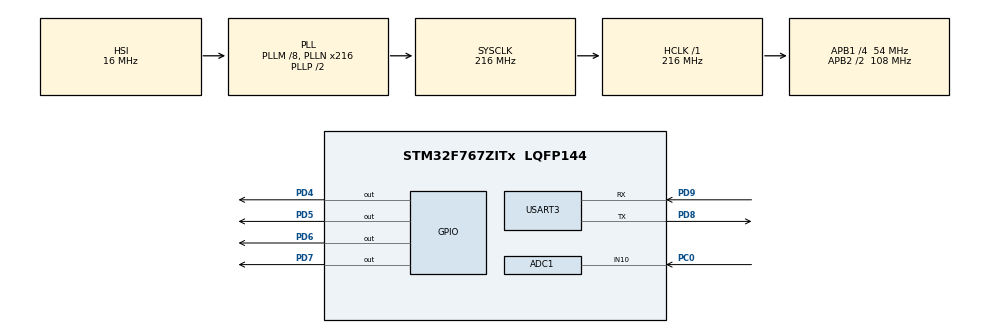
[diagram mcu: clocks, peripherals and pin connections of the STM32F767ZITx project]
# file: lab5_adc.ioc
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ADC1.Channel-0\#ChannelRegularConversion=ADC_CHANNEL_10
ADC1.ContinuousConvMode=ENABLE
ADC1.EOCSelection=ADC_EOC_SEQ_CONV
ADC1.NbrOfConversionFlag=1
ADC1.Rank-0\#ChannelRegularConversion=1
ADC1.SamplingTime-0\#ChannelRegularConversion=ADC_SAMPLETIME_3CYCLES
ADC1.master=1
Mcu.Family=STM32F7
Mcu.Name=STM32F767ZITx
Mcu.Package=LQFP144
NVIC.PriorityGroup=NVIC_PRIORITYGROUP_4
PC0.Signal=ADCx_IN10
PD4.Signal=GPIO_Output
PD5.Signal=GPIO_Output
PD6.Signal=GPIO_Output
PD7.Signal=GPIO_Output
PD8.Mode=Asynchronous
PD8.Signal=USART3_TX
PD9.Mode=Asynchronous
PD9.Signal=USART3_RX
ProjectManager.HeapSize=0x200
ProjectManager.StackSize=0x400
ProjectManager.TargetToolchain=STM32CubeIDE
RCC.AHBFreq_Value=216000000
RCC.APB1CLKDivider=RCC_HCLK_DIV4
RCC.APB1Freq_Value=54000000
RCC.APB1TimFreq_Value=108000000
RCC.APB2CLKDivider=RCC_HCLK_DIV2
RCC.APB2Freq_Value=108000000
RCC.APB2TimFreq_Value=216000000
RCC.CortexFreq_Value=216000000
RCC.HCLKFreq_Value=216000000
RCC.HSE_VALUE=25000000
RCC.HSI_VALUE=16000000
RCC.LSE_VALUE=32768
RCC.PLLM=8
RCC.PLLN=216
RCC.SYSCLKFreq_VALUE=216000000
RCC.SYSCLKSource=RCC_SYSCLKSOURCE_PLLCLK
RCC.USBFreq_Value=216000000
RCC.VCOOutputFreq_Value=432000000
SH.ADCx_IN10.0=ADC1_IN10,IN10
USART3.VirtualMode-Asynchronous=VM_ASYNC
board=custom

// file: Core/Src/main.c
/* USER CODE BEGIN Header */
/**
  ******************************************************************************
  * @file           : main.c
  * @brief          : Main program body
  ******************************************************************************
  * @attention
  *
  * Copyright (c) 2023 STMicroelectronics.
  * All rights reserved.
  *
  * This software is licensed under terms that can be found in the LICENSE file
  * in the root directory of this software component.
  * If no LICENSE file comes with this software, it is provided AS-IS.
  *
  ******************************************************************************
  */
/* USER CODE END Header */
#include "main.h"

ADC_HandleTypeDef hadc1;

UART_HandleTypeDef huart3;

void SystemClock_Config(void);
static void MPU_Initialize(void);
static void MPU_Config(void);
static void MX_GPIO_Init(void);
static void MX_ADC1_Init(void);
static void MX_USART3_UART_Init(void);

/* USER CODE BEGIN 0 */
void cleverSend(UART_HandleTypeDef huart,char * tosend){
      while(__HAL_UART_GET_FLAG(&huart,UART_FLAG_TC)==RESET){}
      HAL_UART_Transmit(&huart, (uint8_t*) tosend, strlen(tosend),HAL_MAX_DELAY);
}
void displayHEX(uint32_t value) {
    char buffer[9]; // 8 หลัก + NULL terminator
    sprintf(buffer, "%08X", value);
    cleverSend(huart3, buffer);
}
// map to 3.3
void displayVoltage(uint32_t value) {
    char buffer[9];
    //The float formatting support is not enabled, check your MCU Settings from "Project Properties > C/C++ Build > Settings > Tool Settings", or add manually "-u _printf_float" in linker flags.
    value = ((float)value / (float)0xFFF)*(float)3300;
    sprintf(buffer, "%d.%d", value / 1000,value % 1000);
    cleverSend(huart3, buffer);
}
int average_8(int x){
	static int samples[8];
	static int i = 0;
	static int total = 0;

	total += x- samples[i];
	samples[i] = x;

	i = (i==7?0:i+1);

	return total >> 3;
}
int average_16(int x){
	static int samples[16];
	static int i = 0;
	static int total = 0;

	total += x- samples[i];
	samples[i] = x;

	i = (i==15?0:i+1);

	return total >> 4;
}
volatile uint32_t adc_val = 0;
volatile uint32_t adc_avg_8 = 0;
volatile uint32_t adc_avg_16 = 0;
/* USER CODE END 0 */

int main(void)
{

  /* MCU Configuration--------------------------------------------------------*/

  /* Reset of all peripherals, Initializes the Flash interface and the Systick. */
  HAL_Init();

  /* MPU Configuration--------------------------------------------------------*/
  MPU_Config();

  /* Configure the system clock */
  SystemClock_Config();

  /* Initialize all configured peripherals */
  MX_GPIO_Init();
  MX_ADC1_Init();
  MX_USART3_UART_Init();
  /* USER CODE BEGIN 2 */
  int pins[] = {GPIO_PIN_4,GPIO_PIN_5,GPIO_PIN_6,GPIO_PIN_7};

  HAL_ADC_Start(&hadc1);
  /* USER CODE END 2 */

  /* Infinite loop */
  while (1)
  {

    /* USER CODE BEGIN 3 */
	  while(HAL_ADC_PollForConversion(&hadc1, 100) != HAL_OK){}
	  adc_val = HAL_ADC_GetValue(&hadc1);
	  adc_avg_8 = average_8(adc_val);
	  adc_avg_16 = average_16(adc_val);
	  cleverSend(huart3, "ADC1_CH10 ");
	  displayHEX(adc_val);
	  cleverSend(huart3, "  Vin = ");
	  int splitter = 0xFFF / 5;
	  for(int i=0;i<adc_val/splitter;i++){
		  HAL_GPIO_WritePin(GPIOD, pins[i], GPIO_PIN_SET);
	  }
	  for(int i=adc_val/splitter;i<4;i++){
		  HAL_GPIO_WritePin(GPIOD, pins[i], GPIO_PIN_RESET);
	  }

	  displayVoltage(adc_val);
	  cleverSend(huart3, " V\n");
	  HAL_Delay(400);
  }
  /* USER CODE END 3 */
}

void SystemClock_Config(void)
{
  RCC_OscInitTypeDef RCC_OscInitStruct = {0};
  RCC_ClkInitTypeDef RCC_ClkInitStruct = {0};

  /** Configure the main internal regulator output voltage
  */
  __HAL_RCC_PWR_CLK_ENABLE();
  __HAL_PWR_VOLTAGESCALING_CONFIG(PWR_REGULATOR_VOLTAGE_SCALE1);

  /** Initializes the RCC Oscillators according to the specified parameters
  * in the RCC_OscInitTypeDef structure.
  */
  RCC_OscInitStruct.OscillatorType = RCC_OSCILLATORTYPE_HSI;
  RCC_OscInitStruct.HSIState = RCC_HSI_ON;
  RCC_OscInitStruct.HSICalibrationValue = RCC_HSICALIBRATION_DEFAULT;
  RCC_OscInitStruct.PLL.PLLState = RCC_PLL_ON;
  RCC_OscInitStruct.PLL.PLLSource = RCC_PLLSOURCE_HSI;
  RCC_OscInitStruct.PLL.PLLM = 8;
  RCC_OscInitStruct.PLL.PLLN = 216;
  RCC_OscInitStruct.PLL.PLLP = RCC_PLLP_DIV2;
  RCC_OscInitStruct.PLL.PLLQ = 2;
  RCC_OscInitStruct.PLL.PLLR = 2;
  if (HAL_RCC_OscConfig(&RCC_OscInitStruct) != HAL_OK)
  {
    Error_Handler();
  }

  /** Activate the Over-Drive mode
  */
  if (HAL_PWREx_EnableOverDrive() != HAL_OK)
  {
    Error_Handler();
  }

  /** Initializes the CPU, AHB and APB buses clocks
  */
  RCC_ClkInitStruct.ClockType = RCC_CLOCKTYPE_HCLK|RCC_CLOCKTYPE_SYSCLK
                              |RCC_CLOCKTYPE_PCLK1|RCC_CLOCKTYPE_PCLK2;
  RCC_ClkInitStruct.SYSCLKSource = RCC_SYSCLKSOURCE_PLLCLK;
  RCC_ClkInitStruct.AHBCLKDivider = RCC_SYSCLK_DIV1;
  RCC_ClkInitStruct.APB1CLKDivider = RCC_HCLK_DIV4;
  RCC_ClkInitStruct.APB2CLKDivider = RCC_HCLK_DIV2;

  if (HAL_RCC_ClockConfig(&RCC_ClkInitStruct, FLASH_LATENCY_7) != HAL_OK)
  {
    Error_Handler();
  }
}

static void MX_ADC1_Init(void)
{

  ADC_ChannelConfTypeDef sConfig = {0};

  /** Configure the global features of the ADC (Clock, Resolution, Data Alignment and number of conversion)
  */
  hadc1.Instance = ADC1;
  hadc1.Init.ClockPrescaler = ADC_CLOCK_SYNC_PCLK_DIV4;
  hadc1.Init.Resolution = ADC_RESOLUTION_12B;
  hadc1.Init.ScanConvMode = ADC_SCAN_DISABLE;
  hadc1.Init.ContinuousConvMode = ENABLE;
  hadc1.Init.DiscontinuousConvMode = DISABLE;
  hadc1.Init.ExternalTrigConvEdge = ADC_EXTERNALTRIGCONVEDGE_NONE;
  hadc1.Init.ExternalTrigConv = ADC_SOFTWARE_START;
  hadc1.Init.DataAlign = ADC_DATAALIGN_RIGHT;
  hadc1.Init.NbrOfConversion = 1;
  hadc1.Init.DMAContinuousRequests = DISABLE;
  hadc1.Init.EOCSelection = ADC_EOC_SEQ_CONV;
  if (HAL_ADC_Init(&hadc1) != HAL_OK)
  {
    Error_Handler();
  }

  /** Configure for the selected ADC regular channel its corresponding rank in the sequencer and its sample time.
  */
  sConfig.Channel = ADC_CHANNEL_10;
  sConfig.Rank = ADC_REGULAR_RANK_1;
  sConfig.SamplingTime = ADC_SAMPLETIME_3CYCLES;
  if (HAL_ADC_ConfigChannel(&hadc1, &sConfig) != HAL_OK)
  {
    Error_Handler();
  }

}

static void MX_USART3_UART_Init(void)
{

  huart3.Instance = USART3;
  huart3.Init.BaudRate = 115200;
  huart3.Init.WordLength = UART_WORDLENGTH_8B;
  huart3.Init.StopBits = UART_STOPBITS_1;
  huart3.Init.Parity = UART_PARITY_NONE;
  huart3.Init.Mode = UART_MODE_TX_RX;
  huart3.Init.HwFlowCtl = UART_HWCONTROL_NONE;
  huart3.Init.OverSampling = UART_OVERSAMPLING_16;
  huart3.Init.OneBitSampling = UART_ONE_BIT_SAMPLE_DISABLE;
  huart3.AdvancedInit.AdvFeatureInit = UART_ADVFEATURE_NO_INIT;
  if (HAL_UART_Init(&huart3) != HAL_OK)
  {
    Error_Handler();
  }

}

static void MX_GPIO_Init(void)
{
  GPIO_InitTypeDef GPIO_InitStruct = {0};

  /* GPIO Ports Clock Enable */
  __HAL_RCC_GPIOC_CLK_ENABLE();
  __HAL_RCC_GPIOD_CLK_ENABLE();

  /*Configure GPIO pin Output Level */
  HAL_GPIO_WritePin(GPIOD, GPIO_PIN_4|GPIO_PIN_5|GPIO_PIN_6|GPIO_PIN_7, GPIO_PIN_RESET);

  /*Configure GPIO pins : PD4 PD5 PD6 PD7 */
  GPIO_InitStruct.Pin = GPIO_PIN_4|GPIO_PIN_5|GPIO_PIN_6|GPIO_PIN_7;
  GPIO_InitStruct.Mode = GPIO_MODE_OUTPUT_PP;
  GPIO_InitStruct.Pull = GPIO_NOPULL;
  GPIO_InitStruct.Speed = GPIO_SPEED_FREQ_LOW;
  HAL_GPIO_Init(GPIOD, &GPIO_InitStruct);

}

/* MPU Configuration */

void MPU_Config(void)
{
  MPU_Region_InitTypeDef MPU_InitStruct = {0};

  /* Disables the MPU */
  HAL_MPU_Disable();

  /** Initializes and configures the Region and the memory to be protected
  */
  MPU_InitStruct.Enable = MPU_REGION_ENABLE;
  MPU_InitStruct.Number = MPU_REGION_NUMBER0;
  MPU_InitStruct.BaseAddress = 0x0;
  MPU_InitStruct.Size = MPU_REGION_SIZE_4GB;
  MPU_InitStruct.SubRegionDisable = 0x87;
  MPU_InitStruct.TypeExtField = MPU_TEX_LEVEL0;
  MPU_InitStruct.AccessPermission = MPU_REGION_NO_ACCESS;
  MPU_InitStruct.DisableExec = MPU_INSTRUCTION_ACCESS_DISABLE;
  MPU_InitStruct.IsShareable = MPU_ACCESS_SHAREABLE;
  MPU_InitStruct.IsCacheable = MPU_ACCESS_NOT_CACHEABLE;
  MPU_InitStruct.IsBufferable = MPU_ACCESS_NOT_BUFFERABLE;

  HAL_MPU_ConfigRegion(&MPU_InitStruct);
  /* Enables the MPU */
  HAL_MPU_Enable(MPU_PRIVILEGED_DEFAULT);

}

void Error_Handler(void)
{
  __disable_irq();
  while (1)
  {
  }
}
